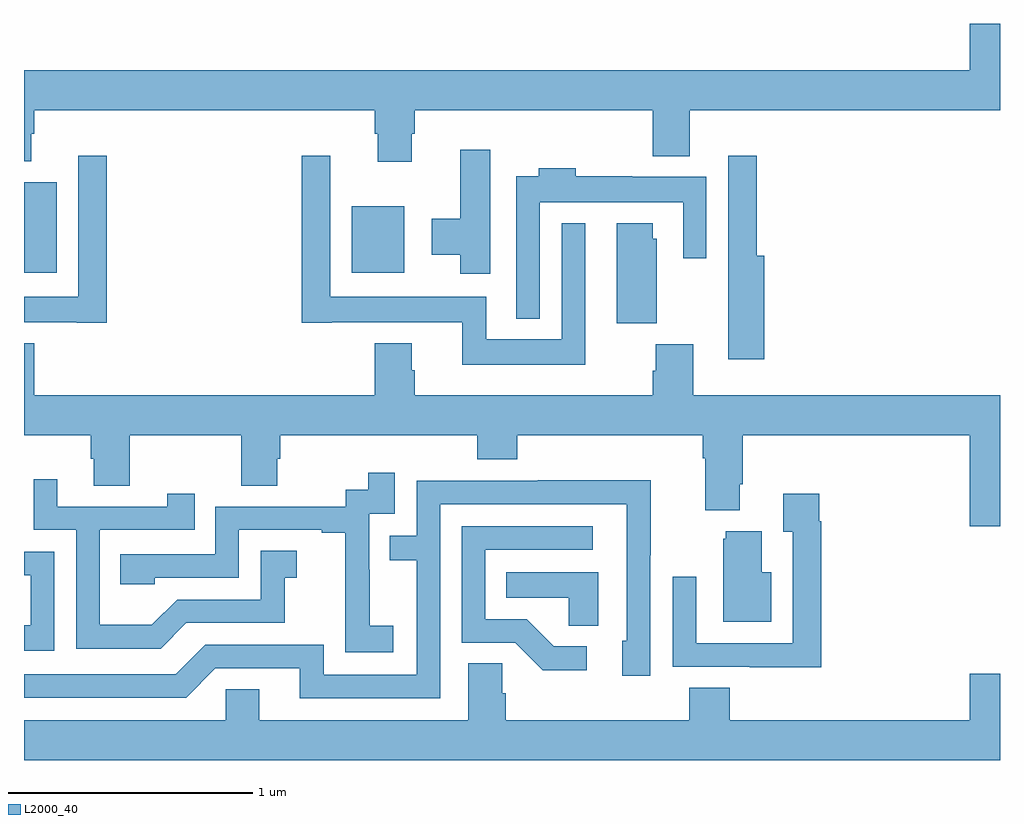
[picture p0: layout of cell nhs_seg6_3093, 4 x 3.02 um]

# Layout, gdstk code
import gdstk
lib = gdstk.Library(unit=1e-6, precision=1e-09)
def R(c, l, rs):  # rectangles x0, y0, x1, y1
    for r in rs: c.add(gdstk.rectangle(r[:2], r[2:], *l))
def P(c, l, *ps):  # polygons
    for p in ps: c.add(gdstk.Polygon(p, *l))
L2000_40 = (2000, 40)

nhs_seg6_3093 = lib.new_cell('nhs_seg6_3093')
R(nhs_seg6_3093, L2000_40, [(293,951.998,293.134,952.369), (294.344,951.998,294.559,952.27)])
P(nhs_seg6_3093, L2000_40, [(294.589,952.566),(294.602,952.566),(294.602,952.664),(295.577,952.664),(295.577,952.475),(295.729,952.475),(295.729,952.664),(297,952.664),(297,953.017),(296.876,953.017),(296.876,952.828),(293,952.828),(293,952.454),(293.029,952.454),(293.029,952.566),(293.042,952.566),(293.042,952.664),(294.437,952.664),(294.437,952.566),(294.449,952.566),(294.449,952.452),(294.589,952.452)],
  [(294.91,952.501),(294.788,952.501),(294.788,952.218),(294.671,952.218),(294.671,952.07),(294.788,952.07),(294.788,951.993),(294.91,951.993)],
  [(293.339,952.477),(293.223,952.477),(293.223,951.898),(293,951.898),(293,951.794),(293.216,951.794),(293.216,951.792),(293.339,951.792)],
  [(296.033,952.066),(296.003,952.066),(296.003,952.477),(295.887,952.477),(295.887,951.962),(295.886,951.962),(295.886,951.642),(296.033,951.642)],
  [(295.3,952.201),(295.203,952.201),(295.203,951.724),(294.894,951.724),(294.894,951.898),(294.255,951.898),(294.255,952.477),(294.139,952.477),(294.139,951.792),(294.262,951.792),(294.262,951.794),(294.797,951.794),(294.797,951.62),(295.3,951.62)],
  [(295.113,952.286),(295.701,952.286),(295.701,952.056),(295.797,952.056),(295.797,952.39),(295.493,952.39),(295.493,952.393),(295.262,952.393),(295.262,952.426),(295.109,952.426),(295.109,952.393),(295.017,952.393),(295.017,951.809),(295.113,951.809)],
  [(295.594,952.137),(295.576,952.137),(295.576,952.201),(295.43,952.201),(295.43,951.79),(295.594,951.79)],
  [(295.781,951.236),(295.793,951.236),(295.793,951.023),(295.933,951.023),(295.933,951.13),(295.946,951.13),(295.946,951.332),(296.876,951.332),(296.876,950.958),(297,950.958),(297,951.496),(295.742,951.496),(295.742,951.705),(295.589,951.705),(295.589,951.596),(295.577,951.596),(295.577,951.496),(294.602,951.496),(294.602,951.597),(294.589,951.597),(294.589,951.709),(294.437,951.709),(294.437,951.496),(293.042,951.496),(293.042,951.709),(293,951.709),(293,951.332),(293.273,951.332),(293.273,951.234),(293.285,951.234),(293.285,951.124),(293.433,951.124),(293.433,951.332),(293.89,951.332),(293.89,951.124),(294.037,951.124),(294.037,951.234),(294.05,951.234),(294.05,951.332),(294.857,951.332),(294.857,951.233),(295.022,951.233),(295.022,951.332),(295.781,951.332)],
  [(294.514,950.551),(294.416,950.551),(294.416,950.78),(294.414,950.78),(294.414,951.009),(294.519,951.009),(294.519,951.178),(294.411,951.178),(294.411,951.108),(294.318,951.108),(294.318,951.039),(293.784,951.039),(293.784,950.844),(293.395,950.844),(293.395,950.721),(293.535,950.721),(293.535,950.748),(293.88,950.748),(293.88,950.943),(294.221,950.943),(294.221,950.931),(294.317,950.931),(294.317,950.647),(294.316,950.647),(294.316,950.441),(294.514,950.441)],
  [(293.665,950.562),(294.069,950.562),(294.069,950.747),(294.118,950.747),(294.118,950.857),(293.97,950.857),(293.97,950.658),(293.628,950.658),(293.524,950.554),(293.31,950.554),(293.31,950.943),(293.699,950.943),(293.699,951.091),(293.588,951.091),(293.588,951.039),(293.137,951.039),(293.137,951.151),(293.04,951.151),(293.04,950.943),(293.214,950.943),(293.214,950.457),(293.56,950.457)],
  [(294.705,951.048),(295.47,951.048),(295.47,950.49),(295.451,950.49),(295.451,950.346),(295.566,950.346),(295.566,950.839),(295.569,950.839),(295.569,951.146),(295.105,951.146),(295.105,951.144),(294.609,951.144),(294.609,950.919),(294.499,950.919),(294.499,950.818),(294.609,950.818),(294.609,950.349),(294.228,950.349),(294.228,950.472),(293.742,950.472),(293.622,950.352),(293,950.352),(293,950.256),(293.664,950.256),(293.784,950.376),(294.131,950.376),(294.131,950.253),(294.705,950.253)],
  [(296.267,950.978),(296.26,950.978),(296.26,951.091),(296.111,951.091),(296.111,950.935),(296.151,950.935),(296.151,950.478),(295.755,950.478),(295.755,950.752),(295.659,950.752),(295.659,950.382),(295.975,950.382),(295.975,950.381),(296.267,950.381)],
  [(295.306,950.466),(295.171,950.466),(295.06,950.577),(294.891,950.577),(294.891,950.862),(295.33,950.862),(295.33,950.958),(294.795,950.958),(294.795,950.481),(295.014,950.481),(295.127,950.369),(295.306,950.369)],
  [(296.062,950.77),(296.023,950.77),(296.023,950.938),(295.877,950.938),(295.877,950.907),(295.865,950.907),(295.865,950.567),(296.062,950.567)],
  [(293.124,950.853),(293,950.853),(293,950.757),(293.027,950.757),(293.027,950.553),(293,950.553),(293,950.448),(293.124,950.448)],
  [(295.354,950.77),(294.976,950.77),(294.976,950.666),(295.233,950.666),(295.233,950.551),(295.354,950.551)],
  [(293.826,950.291),(293.826,950.164),(293,950.164),(293,950),(297,950),(297,950.353),(296.876,950.353),(296.876,950.164),(295.892,950.164),(295.892,950.297),(295.727,950.297),(295.727,950.164),(294.974,950.164),(294.974,950.273),(294.96,950.273),(294.96,950.396),(294.821,950.396),(294.821,950.164),(293.965,950.164),(293.965,950.291)])

lib.write_gds('nhs_seg6_3093.gds')
